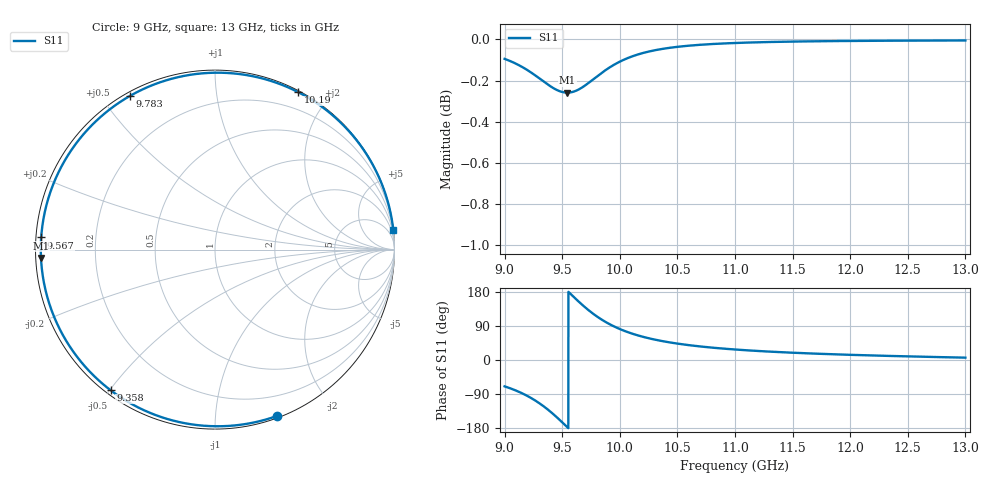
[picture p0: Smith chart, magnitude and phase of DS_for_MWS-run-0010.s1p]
! TOUCHSTONE file generated by CST DESIGN STUDIO
! Date and time: Tue Feb  4 18:02:12 2025
! Project name: C:\Work\MatlabApps\UnitCellOptimizationMatlab\CST\unitcell.cst
! Tree item: Tasks\Sweep1\SPara1\S-Parameters
! Header version: 2024
! Port assignment regex: !\s*Touchstone port\s*([0-9]+)\s*=\s*(CST MWS port|CST DES external port|CST DES block port)\s*(.+)\s* \(\"(.*)\"\)(\s*mode\s*([0-9]+))?.*
! Touchstone port assignment:
! Touchstone port 1 = CST DES external port 1 ("")
# GHz S MA R 50
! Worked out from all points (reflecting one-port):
!   4001 points, 9 GHz to 13 GHz, reference 50 ohm
!   lowest |S11| = -0.3 dB at 9.544 GHz (marker M1), VSWR 67.14, Z = 0.745 - j1.21 ohm
!   phase of S11 starts at -70 deg and turns -284 deg over the sweep
!   S11 on the Smith chart (normalised r, x): 9 GHz: 0.02, -1.44; 9.358 GHz: 0.02, -0.50; 9.567 GHz: 0.01, +0.03; 9.783 GHz: 0.01, +0.59; 10.19 GHz: 0.01, +1.66; 13 GHz: 0, +18
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9  0.9892 -69.6
9.102  0.9864 -81.1
9.213  0.9824 -97.4
9.289  0.979 -111.5
9.358  0.9758 -126.6
9.426  0.973 -143.7
9.465  0.9718 -154.4
9.5  0.971 -164.4
9.544  0.9707 -177.2
9.567  0.9707 176.0
9.622  0.9717 160.0
9.682  0.9738 143.4
9.732  0.9761 130.7
9.783  0.9786 118.8
9.83  0.9809 109.1
9.88  0.9831 99.8
9.936  0.9854 90.7
10  0.9876 81.7
10.091  0.9902 71.2
10.189  0.9922 62.2
10.331  0.9943 52.1
10.5  0.9959 43.3
10.721  0.9971 35.0
11  0.998 27.7
11.5  0.9988 19.2
12  0.9991 13.6
12.5  0.9993 9.5
13  0.9994 6.2
